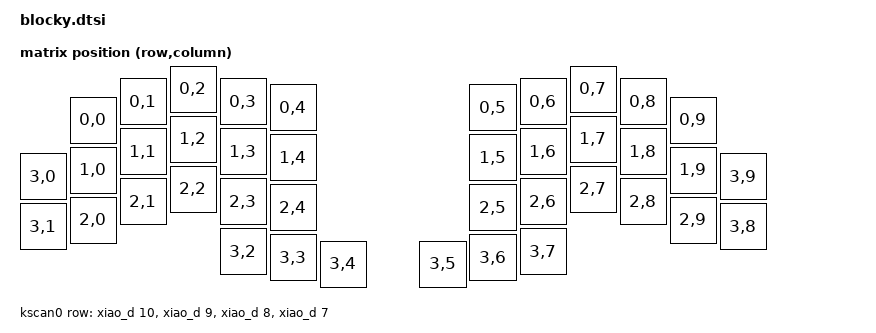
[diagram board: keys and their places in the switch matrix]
/*
 * Copyright (c) 2022 The ZMK Contributors
 *
 * SPDX-License-Identifier: MIT
 */

#include <dt-bindings/zmk/matrix_transform.h>
#include <physical_layouts.dtsi>
#include <input/processors.dtsi>
#include <dt-bindings/zmk/input_transform.h>
#include <zephyr/dt-bindings/input/input-event-codes.h>

#ifdef HAS_MOUSE_TP
  // We store the trackpoint settings in a separate file
  // to make organization a little easier.
  #include "includes/mouse_tp.dtsi"
#endif  // HAS_MOUSE_TP

/ {
    physical_layout0: physical_layout_0 { // First physical layout, use different naming for other layouts
        compatible = "zmk,physical-layout";
        display-name = "blocky";
        kscan = <&kscan0>; // Label of the kscan node, optional if all layouts use the same
        transform = <&default_transform>; // Label of the matrix transform for this layout
    // chosen {
    //     zmk,kscan = &kscan0;
    //     zmk,matrix_transform = &default_transform;
    // };
        keys  //                     w   h    x    y     rot    rx    ry
            = <&key_physical_attrs 100 100  100   62       0     0     0>
            , <&key_physical_attrs 100 100  200   25       0     0     0>
            , <&key_physical_attrs 100 100  300    0       0     0     0>
            , <&key_physical_attrs 100 100  400   25       0     0     0>
            , <&key_physical_attrs 100 100  500   37       0     0     0>
            , <&key_physical_attrs 100 100  900   37       0     0     0>
            , <&key_physical_attrs 100 100 1000   25       0     0     0>
            , <&key_physical_attrs 100 100 1100    0       0     0     0>
            , <&key_physical_attrs 100 100 1200   25       0     0     0>
            , <&key_physical_attrs 100 100 1300   62       0     0     0>
            , <&key_physical_attrs 100 100    0  175       0     0     0>
            , <&key_physical_attrs 100 100  100  162       0     0     0>
            , <&key_physical_attrs 100 100  200  125       0     0     0>
            , <&key_physical_attrs 100 100  300  100       0     0     0>
            , <&key_physical_attrs 100 100  400  125       0     0     0>
            , <&key_physical_attrs 100 100  500  137       0     0     0>
            , <&key_physical_attrs 100 100  900  137       0     0     0>
            , <&key_physical_attrs 100 100 1000  125       0     0     0>
            , <&key_physical_attrs 100 100 1100  100       0     0     0>
            , <&key_physical_attrs 100 100 1200  125       0     0     0>
            , <&key_physical_attrs 100 100 1300  162       0     0     0>
            , <&key_physical_attrs 100 100 1400  175       0     0     0>
            , <&key_physical_attrs 100 100    0  275       0     0     0>
            , <&key_physical_attrs 100 100  100  262       0     0     0>
            , <&key_physical_attrs 100 100  200  225       0     0     0>
            , <&key_physical_attrs 100 100  300  200       0     0     0>
            , <&key_physical_attrs 100 100  400  225       0     0     0>
            , <&key_physical_attrs 100 100  500  237       0     0     0>
            , <&key_physical_attrs 100 100  900  237       0     0     0>
            , <&key_physical_attrs 100 100 1000  225       0     0     0>
            , <&key_physical_attrs 100 100 1100  200       0     0     0>
            , <&key_physical_attrs 100 100 1200  225       0     0     0>
            , <&key_physical_attrs 100 100 1300  262       0     0     0>
            , <&key_physical_attrs 100 100 1400  275       0     0     0>
            , <&key_physical_attrs 100 100  400  325       0     0     0>
            , <&key_physical_attrs 100 100  500  337       0     0     0>
            , <&key_physical_attrs 100 100  600  350       0     0     0>
            , <&key_physical_attrs 100 100  800  350       0     0     0>
            , <&key_physical_attrs 100 100  900  337       0     0     0>
            , <&key_physical_attrs 100 100 1000  325       0     0     0>
            ;
    };
    default_transform: keymap_transform_0 {
        compatible = "zmk,matrix-transform";
        columns = <10>;
        rows = <4>;
//             | SW01  | SW02  | SW03  | SW04  | SW05  |  | SW05  | SW04  | SW03  | SW02  | SW01  |
//      | SW16 | SW06  | SW07  | SW08  | SW09  | SW10  |  | SW10  | SW09  | SW08  | SW07  | SW06  | SW16  |
//      | SW17 | SW11  | SW12  | SW13  | SW14  | SW15  |  | SW15  | SW14  | SW13  | SW12  | SW11  | SW17  |
//                             | SW18  | SW19  | SW20  |  | SW20  | SW19  | SW18  |
        map = <
                RC(0,0) RC(0,1) RC(0,2) RC(0,3) RC(0,4)       RC(0,5) RC(0,6) RC(0,7) RC(0,8) RC(0,9)
        RC(3,0) RC(1,0) RC(1,1) RC(1,2) RC(1,3) RC(1,4)       RC(1,5) RC(1,6) RC(1,7) RC(1,8) RC(1,9) RC(3,9)
        RC(3,1) RC(2,0) RC(2,1) RC(2,2) RC(2,3) RC(2,4)       RC(2,5) RC(2,6) RC(2,7) RC(2,8) RC(2,9) RC(3,8)
                                RC(3,2) RC(3,3) RC(3,4)       RC(3,5) RC(3,6) RC(3,7)
        >;
    };


    kscan0: kscan_0 {
        compatible = "zmk,kscan-gpio-matrix";
        label = "KSCAN";

        diode-direction = "col2row";
        row-gpios
            = <&xiao_d 10 (GPIO_ACTIVE_HIGH | GPIO_PULL_DOWN)>
            , <&xiao_d 9 (GPIO_ACTIVE_HIGH | GPIO_PULL_DOWN)>
            , <&xiao_d 8 (GPIO_ACTIVE_HIGH | GPIO_PULL_DOWN)>
            , <&xiao_d 7 (GPIO_ACTIVE_HIGH | GPIO_PULL_DOWN)>
            ;
    };

    trackpoint_listener: trackpoint_listener {
        compatible = "zmk,input-listener";
        status = "disabled";
    };
};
